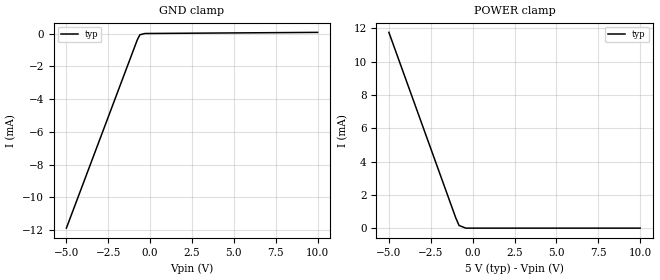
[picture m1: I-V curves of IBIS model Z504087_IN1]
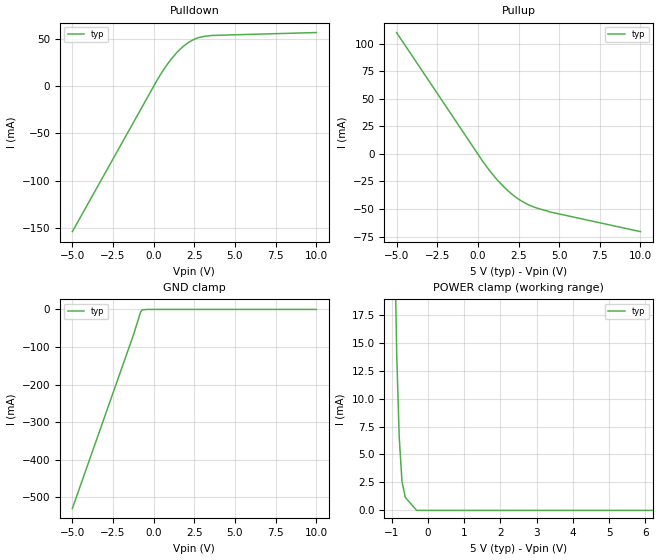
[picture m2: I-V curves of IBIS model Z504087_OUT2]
| YOU ARE ONLY AUTHORIZED TO USE THIS SOFTWARE
| ACCORDING TO LICENSOR'S LICENSE RESTRICTIONS.
[IBIS Ver] 3.1
[File Name] mc54hc27j.ibs
[File Rev] 2.0
[Source] Measured and created by ICX Technology
[Date] Friday 7/14/00 9:08:06 AM
[Copyright]
| (C) COPYRIGHT 1993-2000
| MENTOR GRAPHICS CORPORATION
| ICX STANDARD LIBRARY, ICX PROJECT MODELING,
| ICX CUSTOM MODELING, ICX VENDOR MODEL
| ALL RIGHTS RESERVED.
| THE FOLLOWING ARE TRADEMARKS OR SERVICE MARKS OF
| MENTOR GRAPHICS CORPORATION:ICX (R), ICX STANDARD
| LIBRARY(R), ICX PROJECT MODELING(R), ICX CUSTOM
| MODELING(R), qualityIBIS(TM), MODELVIEWER(TM),
| AND MODELEDITOR(TM)
| ALL COPIES OF SOFTWARE, INCLUDING BUT NOT LIMITED TO
| ANY MODIFICATIONS, ENHANCEMENTS OR DERIVATIVE WORKS,
| MUST CONTAIN ALL MENTOR GRAPHICS CORPORATION'S
| NOTICES AND LEGENDS, INCLUDING THOSE EMBEDDED IN
| SOFTWARE AND THOSE AFFIXED TO SOFTWARE MEDIUM
| AND CONTAINER, AS RECEIVED FROM MENTOR GRAPHICS
| CORPORATION.
|  ZAP Model Builder 2.7
[Component] MC54HC27J
[Manufacturer] OnSemiconductor
[Package]
| variable   typ   min   max
R_pkg  .21ohms NA NA
L_pkg  4.543nH NA NA
C_pkg  1.8pF NA NA
[Pin] signal_name  model_name  R_pin  L_pin C_pin
1 DOa Z504087_IN1 .22 6.757n 2.434p
2 DOb Z504087_IN1 .212 4.757n 1.941p
3 D1a Z504087_IN1 .204 3.257n 1.448p
4 D1b Z504087_IN1 .196 2.257n .955p
5 D1c Z504087_IN1 .204 3.257n 1.448p
6 Q1 Z504087_OUT2 .212 4.757n 1.941p
7 GND GND .22 6.757n 2.434p
8 Q2 Z504087_OUT2 .22 6.757n 2.434p
9 D2a Z504087_IN1 .212 4.757n 1.941p
10 D2b Z504087_IN1 .204 3.257n 1.448p
11 D2c Z504087_IN1 .196 2.257n .955p
12 QO Z504087_OUT2 .204 3.257n 1.448p
13 DOc Z504087_IN1 .212 4.757n 1.941p
14 Vcc POWER .22 6.757n 2.434p
| Models and submodels in the file (2): Z504087_IN1 (Input), Z504087_OUT2 (Output)
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| (C) COPYRIGHT 1993-2000
| MENTOR GRAPHICS CORPORATION
| ICX STANDARD LIBRARY, ICX PROJECT MODELING,
| ICX CUSTOM MODELING, ICX VENDOR MODEL
| ALL RIGHTS RESERVED.
| THE FOLLOWING ARE TRADEMARKS OR SERVICE MARKS OF
| MENTOR GRAPHICS CORPORATION:ICX (R), ICX STANDARD
| LIBRARY(R), ICX PROJECT MODELING(R), ICX CUSTOM
| MODELING(R), qualityIBIS(TM), MODELVIEWER(TM),
| AND MODELEDITOR(TM)
| ALL COPIES OF SOFTWARE, INCLUDING BUT NOT LIMITED TO
| ANY MODIFICATIONS, ENHANCEMENTS OR DERIVATIVE WORKS,
| MUST CONTAIN ALL MENTOR GRAPHICS CORPORATION'S
| NOTICES AND LEGENDS, INCLUDING THOSE EMBEDDED IN
| SOFTWARE AND THOSE AFFIXED TO SOFTWARE MEDIUM
| AND CONTAINER, AS RECEIVED FROM MENTOR GRAPHICS
| CORPORATION.
| Model Application Version 1.89 2/18/99.
[Model] Z504087_IN1
Model_type Input
Vinl = 1.000V
Vinh = 3.500V
C_comp 4.000pF NA NA
| variable typ   min   max
[Voltage Range] 5.000V NA NA
[GND Clamp Reference] 0.000V NA NA
[POWER Clamp Reference] 5.000V NA NA
[GND Clamp]
-5V       -11.88mA   NA         NA
-766.6mV  -382.2uA   NA         NA
-610mV    -70.8uA    NA         NA
-305mV    4.251uA    NA         NA
10V       73.49uA    NA         NA
[POWER Clamp]
-5V       11.76mA    NA         NA
-1.006V   613.5uA    NA         NA
-811mV    161uA      NA         NA
-405.5mV  0A         NA         NA
10V       0A         NA         NA
| (C) COPYRIGHT 1993-2000
| MENTOR GRAPHICS CORPORATION
| ICX STANDARD LIBRARY, ICX PROJECT MODELING,
| ICX CUSTOM MODELING, ICX VENDOR MODEL
| ALL RIGHTS RESERVED.
| THE FOLLOWING ARE TRADEMARKS OR SERVICE MARKS OF
| MENTOR GRAPHICS CORPORATION:ICX (R), ICX STANDARD
| LIBRARY(R), ICX PROJECT MODELING(R), ICX CUSTOM
| MODELING(R), qualityIBIS(TM), MODELVIEWER(TM),
| AND MODELEDITOR(TM)
| ALL COPIES OF SOFTWARE, INCLUDING BUT NOT LIMITED TO
| ANY MODIFICATIONS, ENHANCEMENTS OR DERIVATIVE WORKS,
| MUST CONTAIN ALL MENTOR GRAPHICS CORPORATION'S
| NOTICES AND LEGENDS, INCLUDING THOSE EMBEDDED IN
| SOFTWARE AND THOSE AFFIXED TO SOFTWARE MEDIUM
| AND CONTAINER, AS RECEIVED FROM MENTOR GRAPHICS
| CORPORATION.
| Model Application Version 1.89 2/18/99.
[Model] Z504087_OUT2
Model_type Output
Vref=0.000V
Rref=500.0Mohms
Cref=50.00pF
Vmeas=2.500V
C_comp 8.000pF NA NA
| variable typ   min   max
[Voltage Range] 5.000V NA NA
[POWER Clamp Reference] 5.000V NA NA
[Pullup Reference] 5.000V NA NA
[Pulldown Reference] 0.000V NA NA
[GND Clamp Reference] 0.000V NA NA
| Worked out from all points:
|   slope of the pulldown table from 0 to 0.75 V, typ, clamps not added: 35.7 ohm
|   slope of the pullup table from 0 to 0.75 V, typ, clamps not added: 48.5 ohm
[GND Clamp]
-5V       -529.9mA   NA         NA
-1.231V   -66.3mA    NA         NA
-795.8mV  -6.203mA   NA         NA
-706.1mV  -1.115mA   NA         NA
-353mV    0A         NA         NA
10V       0A         NA         NA
[Pulldown]
-5V       -154.1mA   NA         NA
239.3mV   7.282mA    NA         NA
1.035V    27.69mA    NA         NA
1.387V    34.92mA    NA         NA
1.837V    42.42mA    NA         NA
2.487V    49.59mA    NA         NA
3.181V    53.11mA    NA         NA
10V       56.84mA    NA         NA
[Pullup]
-5V       110.1mA    NA         NA
254mV     -5.76mA    NA         NA
664mV     -14.06mA   NA         NA
1.271V    -24.88mA   NA         NA
2.197V    -37.78mA   NA         NA
3.066V    -45.9mA    NA         NA
4.395V    -52.56mA   NA         NA
10V       -70.56mA   NA         NA
[POWER Clamp]
-5V       1.304A     NA         NA
-1.278V   116.3mA    NA         NA
-1.021V   44.19mA    NA         NA
-859mV    13.96mA    NA         NA
-790mV    6.573mA    NA         NA
-713mV    2.561mA    NA         NA
-620mV    1.153mA    NA         NA
-310mV    0A         NA         NA
10V       0A         NA         NA
[Ramp]
| variable typ min max
dV/dt_r 2.745/1.204n NA NA
dV/dt_f 2.745/979.3p NA NA
R_load = 500.0Ohms
